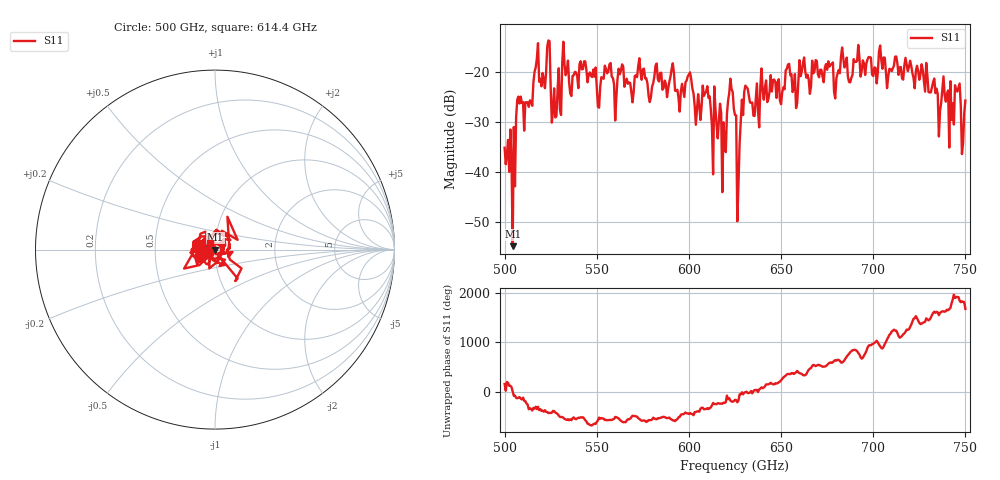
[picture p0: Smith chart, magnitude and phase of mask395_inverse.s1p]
!Created with skrf (http://scikit-rf.org).
# GHz S MA R 50.0
!freq magS11 angS11
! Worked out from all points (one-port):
!   401 points, 500 GHz to 750 GHz, reference 50 ohm
!   lowest |S11| = -54.9 dB at 504.4 GHz (marker M1), VSWR 1.00, Z = 50.2 + j0.0403 ohm
!   |S11| at or under -10 dB: start of sweep to end of sweep
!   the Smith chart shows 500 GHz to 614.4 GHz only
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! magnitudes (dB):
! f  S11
! 500 GHz  -35.2
! 504.4 GHz  -54.9
! 507.5 GHz  -24.9
! 513.8 GHz  -25.7
! 516.9 GHz  -19.0
! 520.6 GHz  -20.1
! 523.8 GHz  -13.6
! 526.9 GHz  -23.2
! 531.2 GHz  -18.3
! 556.2 GHz  -19.9
! 560 GHz  -29.7
! 562.5 GHz  -20.4
! 578.8 GHz  -26.0
! 590.6 GHz  -19.3
! 593.8 GHz  -23.5
! 608.8 GHz  -24.2
! 619.4 GHz  -34.2
! 622.5 GHz  -21.3
! 625 GHz  -28.6
! 627.5 GHz  -34.3
! 631.2 GHz  -23.0
! 636.9 GHz  -22.2
! 656.2 GHz  -24.0
! 680 GHz  -21.2
! 683.8 GHz  -17.2
! 687.5 GHz  -22.0
! 718.8 GHz  -19.8
! 750 GHz  -25.7
